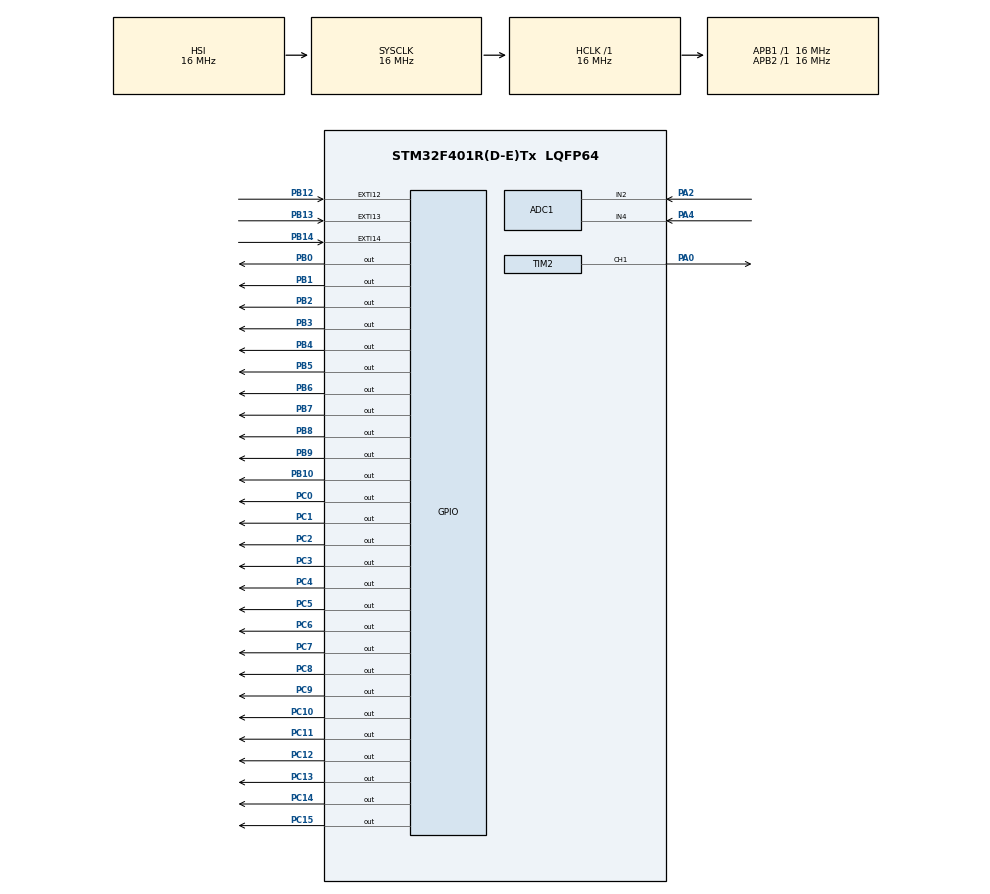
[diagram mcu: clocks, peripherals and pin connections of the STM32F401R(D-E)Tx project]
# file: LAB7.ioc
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ADC1.Channel-0\#ChannelRegularConversion=ADC_CHANNEL_2
ADC1.NbrOfConversionFlag=1
ADC1.Rank-0\#ChannelRegularConversion=1
ADC1.SamplingTime-0\#ChannelRegularConversion=ADC_SAMPLETIME_28CYCLES
ADC1.master=1
Mcu.Family=STM32F4
Mcu.Name=STM32F401R(D-E)Tx
Mcu.Package=LQFP64
NVIC.EXTI15_10_IRQn=true\:0\:0\:false\:false\:true\:true\:true
NVIC.PriorityGroup=NVIC_PRIORITYGROUP_4
NVIC.TIM3_IRQn=true\:0\:0\:false\:false\:true\:true\:true
PA0-WKUP.Signal=S_TIM2_CH1_ETR
PA2.Signal=ADCx_IN2
PA4.Signal=ADCx_IN4
PB0.Signal=GPIO_Output
PB1.Signal=GPIO_Output
PB10.Signal=GPIO_Output
PB12.GPIO_PuPd=GPIO_PULLDOWN
PB12.Signal=GPXTI12
PB13.GPIO_PuPd=GPIO_PULLDOWN
PB13.Signal=GPXTI13
PB14.GPIO_PuPd=GPIO_PULLDOWN
PB14.Signal=GPXTI14
PB2.Signal=GPIO_Output
PB3.Signal=GPIO_Output
PB4.Signal=GPIO_Output
PB5.Signal=GPIO_Output
PB6.Signal=GPIO_Output
PB7.Signal=GPIO_Output
PB8.Signal=GPIO_Output
PB9.Signal=GPIO_Output
PC0.Signal=GPIO_Output
PC1.Signal=GPIO_Output
PC10.Signal=GPIO_Output
PC11.Signal=GPIO_Output
PC12.Signal=GPIO_Output
PC13-ANTI_TAMP.Signal=GPIO_Output
PC14-OSC32_IN.Signal=GPIO_Output
PC15-OSC32_OUT.Signal=GPIO_Output
PC2.Signal=GPIO_Output
PC3.Signal=GPIO_Output
PC4.Signal=GPIO_Output
PC5.Signal=GPIO_Output
PC6.Signal=GPIO_Output
PC7.Signal=GPIO_Output
PC8.Signal=GPIO_Output
PC9.Signal=GPIO_Output
ProjectManager.HeapSize=0x200
ProjectManager.StackSize=0x400
ProjectManager.TargetToolchain=MDK-ARM V5.32
RCC.AHBFreq_Value=16000000
RCC.APB1Freq_Value=16000000
RCC.APB2Freq_Value=16000000
RCC.CortexFreq_Value=16000000
RCC.HSE_VALUE=25000000
RCC.HSI_VALUE=16000000
RCC.LSE_VALUE=32768
RCC.SYSCLKFreq_VALUE=16000000
RCC.VCOOutputFreq_Value=192000000
SH.ADCx_IN2.0=ADC1_IN2,IN2
SH.ADCx_IN4.0=ADC1_IN4,IN4
SH.S_TIM2_CH1_ETR.0=TIM2_CH1,PWM Generation1 CH1
TIM2.Channel-PWM\ Generation1\ CH1=TIM_CHANNEL_1
TIM3.Period=19
TIM3.Prescaler=15999
VP_TIM2_VS_ClockSourceINT.Mode=Internal
VP_TIM3_VS_ClockSourceINT.Mode=Internal
board=custom

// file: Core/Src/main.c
/* USER CODE BEGIN Header */
/**
 ******************************************************************************
 * @file           : main.c
 * @brief          : Main program body
 ******************************************************************************
 * @attention
 *
 * <h2><center>&copy; Copyright (c) 2022 STMicroelectronics.
 * All rights reserved.</center></h2>
 *
 * This software component is licensed by ST under BSD 3-Clause license,
 * the "License"; You may not use this file except in compliance with the
 * License. You may obtain a copy of the License at:
 *                        opensource.org/licenses/BSD-3-Clause
 *
 ******************************************************************************
 */
/* USER CODE END Header */
#include "main.h"

/* USER CODE BEGIN Includes */
#include <stdio.h>
void BCDTo7SegDec(int num);
void delayMs(int n);
void ADC_Select_CH2(void);
void ADC_Select_CH4(void);
uint16_t LM35_temp(void);
void showTemp(uint16_t tmp);
void reset_SEG(void);
uint16_t SIG_input(void);
void DAC_data(uint16_t input_signal);

int state = 0; // everything is off
int temp_sample = 0;
int temp_sample_sum = 0;
int avg_temp = 0;
int LED_status = 0;
int count_500ms = 0;
int coolingCheck = 0; // if 1 >> cooling is pressed
int cooling_timeOut = 100;

/* USER CODE END Includes */

ADC_HandleTypeDef hadc1;

TIM_HandleTypeDef htim2;
TIM_HandleTypeDef htim3;

void SystemClock_Config(void);
static void MX_GPIO_Init(void);
static void MX_ADC1_Init(void);
static void MX_TIM2_Init(void);
static void MX_TIM3_Init(void);

int main(void)
{

    /* MCU Configuration--------------------------------------------------------*/

    /* Reset of all peripherals, Initializes the Flash interface and the Systick. */
    HAL_Init();

    /* Configure the system clock */
    SystemClock_Config();

    /* Initialize all configured peripherals */
    MX_GPIO_Init();
    MX_ADC1_Init();
    MX_TIM2_Init();
    MX_TIM3_Init();

    /* Infinite loop */
    while (1)
    {
        /* USER CODE BEGIN 3 */
        // 1 check / 2 ok / 3 danger / 4 warning
        if (state != 0 || state != 404)
        {
            showTemp(avg_temp);
        }
        if(state == 2 || state == 4){
            __disable_irq();
            ADC_Select_CH4();
            DAC_data(SIG_input());
            __enable_irq();
        }
        if (state == 404)
        {
            reset_SEG();
        }
    }
    /* USER CODE END 3 */
}

void SystemClock_Config(void)
{
    RCC_OscInitTypeDef RCC_OscInitStruct = {0};
    RCC_ClkInitTypeDef RCC_ClkInitStruct = {0};

    /** Configure the main internal regulator output voltage
     */
    __HAL_RCC_PWR_CLK_ENABLE();
    __HAL_PWR_VOLTAGESCALING_CONFIG(PWR_REGULATOR_VOLTAGE_SCALE2);
    /** Initializes the RCC Oscillators according to the specified parameters
     * in the RCC_OscInitTypeDef structure.
     */
    RCC_OscInitStruct.OscillatorType = RCC_OSCILLATORTYPE_HSI;
    RCC_OscInitStruct.HSIState = RCC_HSI_ON;
    RCC_OscInitStruct.HSICalibrationValue = RCC_HSICALIBRATION_DEFAULT;
    RCC_OscInitStruct.PLL.PLLState = RCC_PLL_NONE;
    if (HAL_RCC_OscConfig(&RCC_OscInitStruct) != HAL_OK)
    {
        Error_Handler();
    }
    /** Initializes the CPU, AHB and APB buses clocks
     */
    RCC_ClkInitStruct.ClockType = RCC_CLOCKTYPE_HCLK | RCC_CLOCKTYPE_SYSCLK | RCC_CLOCKTYPE_PCLK1 | RCC_CLOCKTYPE_PCLK2;
    RCC_ClkInitStruct.SYSCLKSource = RCC_SYSCLKSOURCE_HSI;
    RCC_ClkInitStruct.AHBCLKDivider = RCC_SYSCLK_DIV1;
    RCC_ClkInitStruct.APB1CLKDivider = RCC_HCLK_DIV1;
    RCC_ClkInitStruct.APB2CLKDivider = RCC_HCLK_DIV1;

    if (HAL_RCC_ClockConfig(&RCC_ClkInitStruct, FLASH_LATENCY_0) != HAL_OK)
    {
        Error_Handler();
    }
}

static void MX_ADC1_Init(void)
{

    ADC_ChannelConfTypeDef sConfig = {0};

    /** Configure the global features of the ADC (Clock, Resolution, Data Alignment and number of conversion)
     */
    hadc1.Instance = ADC1;
    hadc1.Init.ClockPrescaler = ADC_CLOCK_SYNC_PCLK_DIV2;
    hadc1.Init.Resolution = ADC_RESOLUTION_12B;
    hadc1.Init.ScanConvMode = DISABLE;
    hadc1.Init.ContinuousConvMode = DISABLE;
    hadc1.Init.DiscontinuousConvMode = DISABLE;
    hadc1.Init.ExternalTrigConvEdge = ADC_EXTERNALTRIGCONVEDGE_NONE;
    hadc1.Init.ExternalTrigConv = ADC_SOFTWARE_START;
    hadc1.Init.DataAlign = ADC_DATAALIGN_RIGHT;
    hadc1.Init.NbrOfConversion = 1;
    hadc1.Init.DMAContinuousRequests = DISABLE;
    hadc1.Init.EOCSelection = ADC_EOC_SINGLE_CONV;
    if (HAL_ADC_Init(&hadc1) != HAL_OK)
    {
        Error_Handler();
    }
    /** Configure for the selected ADC regular channel its corresponding rank in the sequencer and its sample time.
     */
    sConfig.Channel = ADC_CHANNEL_2;
    sConfig.Rank = 1;
    sConfig.SamplingTime = ADC_SAMPLETIME_28CYCLES;
    if (HAL_ADC_ConfigChannel(&hadc1, &sConfig) != HAL_OK)
    {
        Error_Handler();
    }
}

static void MX_TIM2_Init(void)
{

    TIM_ClockConfigTypeDef sClockSourceConfig = {0};
    TIM_MasterConfigTypeDef sMasterConfig = {0};
    TIM_OC_InitTypeDef sConfigOC = {0};

    htim2.Instance = TIM2;
    htim2.Init.Prescaler = 0;
    htim2.Init.CounterMode = TIM_COUNTERMODE_UP;
    htim2.Init.Period = 4294967295;
    htim2.Init.ClockDivision = TIM_CLOCKDIVISION_DIV1;
    htim2.Init.AutoReloadPreload = TIM_AUTORELOAD_PRELOAD_DISABLE;
    if (HAL_TIM_Base_Init(&htim2) != HAL_OK)
    {
        Error_Handler();
    }
    sClockSourceConfig.ClockSource = TIM_CLOCKSOURCE_INTERNAL;
    if (HAL_TIM_ConfigClockSource(&htim2, &sClockSourceConfig) != HAL_OK)
    {
        Error_Handler();
    }
    if (HAL_TIM_PWM_Init(&htim2) != HAL_OK)
    {
        Error_Handler();
    }
    sMasterConfig.MasterOutputTrigger = TIM_TRGO_RESET;
    sMasterConfig.MasterSlaveMode = TIM_MASTERSLAVEMODE_DISABLE;
    if (HAL_TIMEx_MasterConfigSynchronization(&htim2, &sMasterConfig) != HAL_OK)
    {
        Error_Handler();
    }
    sConfigOC.OCMode = TIM_OCMODE_PWM1;
    sConfigOC.Pulse = 0;
    sConfigOC.OCPolarity = TIM_OCPOLARITY_HIGH;
    sConfigOC.OCFastMode = TIM_OCFAST_DISABLE;
    if (HAL_TIM_PWM_ConfigChannel(&htim2, &sConfigOC, TIM_CHANNEL_1) != HAL_OK)
    {
        Error_Handler();
    }
    HAL_TIM_MspPostInit(&htim2);
}

static void MX_TIM3_Init(void)
{

    TIM_ClockConfigTypeDef sClockSourceConfig = {0};
    TIM_MasterConfigTypeDef sMasterConfig = {0};

    htim3.Instance = TIM3;
    htim3.Init.Prescaler = 15999;
    htim3.Init.CounterMode = TIM_COUNTERMODE_UP;
    htim3.Init.Period = 19;
    htim3.Init.ClockDivision = TIM_CLOCKDIVISION_DIV1;
    htim3.Init.AutoReloadPreload = TIM_AUTORELOAD_PRELOAD_DISABLE;
    if (HAL_TIM_Base_Init(&htim3) != HAL_OK)
    {
        Error_Handler();
    }
    sClockSourceConfig.ClockSource = TIM_CLOCKSOURCE_INTERNAL;
    if (HAL_TIM_ConfigClockSource(&htim3, &sClockSourceConfig) != HAL_OK)
    {
        Error_Handler();
    }
    sMasterConfig.MasterOutputTrigger = TIM_TRGO_RESET;
    sMasterConfig.MasterSlaveMode = TIM_MASTERSLAVEMODE_DISABLE;
    if (HAL_TIMEx_MasterConfigSynchronization(&htim3, &sMasterConfig) != HAL_OK)
    {
        Error_Handler();
    }
}

static void MX_GPIO_Init(void)
{
    GPIO_InitTypeDef GPIO_InitStruct = {0};

    /* GPIO Ports Clock Enable */
    __HAL_RCC_GPIOC_CLK_ENABLE();
    __HAL_RCC_GPIOA_CLK_ENABLE();
    __HAL_RCC_GPIOB_CLK_ENABLE();

    /*Configure GPIO pin Output Level */
    HAL_GPIO_WritePin(GPIOC, GPIO_PIN_13 | GPIO_PIN_14 | GPIO_PIN_15 | GPIO_PIN_0 | GPIO_PIN_1 | GPIO_PIN_2 | GPIO_PIN_3 | GPIO_PIN_4 | GPIO_PIN_5 | GPIO_PIN_6 | GPIO_PIN_7 | GPIO_PIN_8 | GPIO_PIN_9 | GPIO_PIN_10 | GPIO_PIN_11 | GPIO_PIN_12, GPIO_PIN_RESET);

    /*Configure GPIO pin Output Level */
    HAL_GPIO_WritePin(GPIOB, GPIO_PIN_0 | GPIO_PIN_1 | GPIO_PIN_2 | GPIO_PIN_10 | GPIO_PIN_3 | GPIO_PIN_4 | GPIO_PIN_5 | GPIO_PIN_6 | GPIO_PIN_7 | GPIO_PIN_8 | GPIO_PIN_9, GPIO_PIN_RESET);

    /*Configure GPIO pins : PC13 PC14 PC15 PC0
                             PC1 PC2 PC3 PC4
                             PC5 PC6 PC7 PC8
                             PC9 PC10 PC11 PC12 */
    GPIO_InitStruct.Pin = GPIO_PIN_13 | GPIO_PIN_14 | GPIO_PIN_15 | GPIO_PIN_0 | GPIO_PIN_1 | GPIO_PIN_2 | GPIO_PIN_3 | GPIO_PIN_4 | GPIO_PIN_5 | GPIO_PIN_6 | GPIO_PIN_7 | GPIO_PIN_8 | GPIO_PIN_9 | GPIO_PIN_10 | GPIO_PIN_11 | GPIO_PIN_12;
    GPIO_InitStruct.Mode = GPIO_MODE_OUTPUT_PP;
    GPIO_InitStruct.Pull = GPIO_NOPULL;
    GPIO_InitStruct.Speed = GPIO_SPEED_FREQ_LOW;
    HAL_GPIO_Init(GPIOC, &GPIO_InitStruct);

    /*Configure GPIO pins : PB0 PB1 PB2 PB10
                             PB3 PB4 PB5 PB6
                             PB7 PB8 PB9 */
    GPIO_InitStruct.Pin = GPIO_PIN_0 | GPIO_PIN_1 | GPIO_PIN_2 | GPIO_PIN_10 | GPIO_PIN_3 | GPIO_PIN_4 | GPIO_PIN_5 | GPIO_PIN_6 | GPIO_PIN_7 | GPIO_PIN_8 | GPIO_PIN_9;
    GPIO_InitStruct.Mode = GPIO_MODE_OUTPUT_PP;
    GPIO_InitStruct.Pull = GPIO_NOPULL;
    GPIO_InitStruct.Speed = GPIO_SPEED_FREQ_LOW;
    HAL_GPIO_Init(GPIOB, &GPIO_InitStruct);

    /*Configure GPIO pins : PB12 PB13 PB14 */
    GPIO_InitStruct.Pin = GPIO_PIN_12 | GPIO_PIN_13 | GPIO_PIN_14;
    GPIO_InitStruct.Mode = GPIO_MODE_IT_RISING;
    GPIO_InitStruct.Pull = GPIO_PULLDOWN;
    HAL_GPIO_Init(GPIOB, &GPIO_InitStruct);

    /* EXTI interrupt init*/
    HAL_NVIC_SetPriority(EXTI15_10_IRQn, 0, 0);
    HAL_NVIC_EnableIRQ(EXTI15_10_IRQn);
}

/* USER CODE BEGIN 4 */
void BCDTo7SegDec(int num)
{

    switch (num)
    {
    case 0:
    {
        HAL_GPIO_WritePin(GPIOB, GPIO_PIN_0, GPIO_PIN_SET);   // a
        HAL_GPIO_WritePin(GPIOB, GPIO_PIN_1, GPIO_PIN_SET);   // b
        HAL_GPIO_WritePin(GPIOB, GPIO_PIN_2, GPIO_PIN_SET);   // c
        HAL_GPIO_WritePin(GPIOB, GPIO_PIN_3, GPIO_PIN_SET);   // d
        HAL_GPIO_WritePin(GPIOB, GPIO_PIN_4, GPIO_PIN_SET);   // e
        HAL_GPIO_WritePin(GPIOB, GPIO_PIN_5, GPIO_PIN_SET);   // f
        HAL_GPIO_WritePin(GPIOB, GPIO_PIN_6, GPIO_PIN_RESET); // g
    };
    break;
    case 1:
    {
        HAL_GPIO_WritePin(GPIOB, GPIO_PIN_0, GPIO_PIN_RESET); // a
        HAL_GPIO_WritePin(GPIOB, GPIO_PIN_1, GPIO_PIN_SET);   // b
        HAL_GPIO_WritePin(GPIOB, GPIO_PIN_2, GPIO_PIN_SET);   // c
        HAL_GPIO_WritePin(GPIOB, GPIO_PIN_3, GPIO_PIN_RESET); // d
        HAL_GPIO_WritePin(GPIOB, GPIO_PIN_4, GPIO_PIN_RESET); // e
        HAL_GPIO_WritePin(GPIOB, GPIO_PIN_5, GPIO_PIN_RESET); // f
        HAL_GPIO_WritePin(GPIOB, GPIO_PIN_6, GPIO_PIN_RESET); // g
    }
    break;
    case 2:
    {
        HAL_GPIO_WritePin(GPIOB, GPIO_PIN_0, GPIO_PIN_SET);   // a
        HAL_GPIO_WritePin(GPIOB, GPIO_PIN_1, GPIO_PIN_SET);   // b
        HAL_GPIO_WritePin(GPIOB, GPIO_PIN_2, GPIO_PIN_RESET); // c
        HAL_GPIO_WritePin(GPIOB, GPIO_PIN_3, GPIO_PIN_SET);   // d
        HAL_GPIO_WritePin(GPIOB, GPIO_PIN_4, GPIO_PIN_SET);   // e
        HAL_GPIO_WritePin(GPIOB, GPIO_PIN_5, GPIO_PIN_RESET); // f
        HAL_GPIO_WritePin(GPIOB, GPIO_PIN_6, GPIO_PIN_SET);   // g
    }
    break;
    case 3:
    {
        HAL_GPIO_WritePin(GPIOB, GPIO_PIN_0, GPIO_PIN_SET);   // a
        HAL_GPIO_WritePin(GPIOB, GPIO_PIN_1, GPIO_PIN_SET);   // b
        HAL_GPIO_WritePin(GPIOB, GPIO_PIN_2, GPIO_PIN_SET);   // c
        HAL_GPIO_WritePin(GPIOB, GPIO_PIN_3, GPIO_PIN_SET);   // d
        HAL_GPIO_WritePin(GPIOB, GPIO_PIN_4, GPIO_PIN_RESET); // e
        HAL_GPIO_WritePin(GPIOB, GPIO_PIN_5, GPIO_PIN_RESET); // f
        HAL_GPIO_WritePin(GPIOB, GPIO_PIN_6, GPIO_PIN_SET);   // g
    }
    break;
    case 4:
    {
        HAL_GPIO_WritePin(GPIOB, GPIO_PIN_0, GPIO_PIN_RESET); // a
        HAL_GPIO_WritePin(GPIOB, GPIO_PIN_1, GPIO_PIN_SET);   // b
        HAL_GPIO_WritePin(GPIOB, GPIO_PIN_2, GPIO_PIN_SET);   // c
        HAL_GPIO_WritePin(GPIOB, GPIO_PIN_3, GPIO_PIN_RESET); // d
        HAL_GPIO_WritePin(GPIOB, GPIO_PIN_4, GPIO_PIN_RESET); // e
        HAL_GPIO_WritePin(GPIOB, GPIO_PIN_5, GPIO_PIN_SET);   // f
        HAL_GPIO_WritePin(GPIOB, GPIO_PIN_6, GPIO_PIN_SET);   // g
    }
    break;
    case 5:
    {
        HAL_GPIO_WritePin(GPIOB, GPIO_PIN_0, GPIO_PIN_SET);   // a
        HAL_GPIO_WritePin(GPIOB, GPIO_PIN_1, GPIO_PIN_RESET); // b
        HAL_GPIO_WritePin(GPIOB, GPIO_PIN_2, GPIO_PIN_SET);   // c
        HAL_GPIO_WritePin(GPIOB, GPIO_PIN_3, GPIO_PIN_SET);   // d
        HAL_GPIO_WritePin(GPIOB, GPIO_PIN_4, GPIO_PIN_RESET); // e
        HAL_GPIO_WritePin(GPIOB, GPIO_PIN_5, GPIO_PIN_SET);   // f
        HAL_GPIO_WritePin(GPIOB, GPIO_PIN_6, GPIO_PIN_SET);   // g
    }
    break;
    case 6:
    {
        HAL_GPIO_WritePin(GPIOB, GPIO_PIN_0, GPIO_PIN_SET);   // a
        HAL_GPIO_WritePin(GPIOB, GPIO_PIN_1, GPIO_PIN_RESET); // b
        HAL_GPIO_WritePin(GPIOB, GPIO_PIN_2, GPIO_PIN_SET);   // c
        HAL_GPIO_WritePin(GPIOB, GPIO_PIN_3, GPIO_PIN_SET);   // d
        HAL_GPIO_WritePin(GPIOB, GPIO_PIN_4, GPIO_PIN_SET);   // e
        HAL_GPIO_WritePin(GPIOB, GPIO_PIN_5, GPIO_PIN_SET);   // f
        HAL_GPIO_WritePin(GPIOB, GPIO_PIN_6, GPIO_PIN_SET);   // g
    }
    break;
    case 7:
    {
        HAL_GPIO_WritePin(GPIOB, GPIO_PIN_0, GPIO_PIN_SET);   // a
        HAL_GPIO_WritePin(GPIOB, GPIO_PIN_1, GPIO_PIN_SET);   // b
        HAL_GPIO_WritePin(GPIOB, GPIO_PIN_2, GPIO_PIN_SET);   // c
        HAL_GPIO_WritePin(GPIOB, GPIO_PIN_3, GPIO_PIN_RESET); // d
        HAL_GPIO_WritePin(GPIOB, GPIO_PIN_4, GPIO_PIN_RESET); // e
        HAL_GPIO_WritePin(GPIOB, GPIO_PIN_5, GPIO_PIN_RESET); // f
        HAL_GPIO_WritePin(GPIOB, GPIO_PIN_6, GPIO_PIN_RESET); // g
    }
    break;
    case 8:
    {
        HAL_GPIO_WritePin(GPIOB, GPIO_PIN_0, GPIO_PIN_SET); // a
        HAL_GPIO_WritePin(GPIOB, GPIO_PIN_1, GPIO_PIN_SET); // b
        HAL_GPIO_WritePin(GPIOB, GPIO_PIN_2, GPIO_PIN_SET); // c
        HAL_GPIO_WritePin(GPIOB, GPIO_PIN_3, GPIO_PIN_SET); // d
        HAL_GPIO_WritePin(GPIOB, GPIO_PIN_4, GPIO_PIN_SET); // e
        HAL_GPIO_WritePin(GPIOB, GPIO_PIN_5, GPIO_PIN_SET); // f
        HAL_GPIO_WritePin(GPIOB, GPIO_PIN_6, GPIO_PIN_SET); // g
    }
    break;
    case 9:
    {
        HAL_GPIO_WritePin(GPIOB, GPIO_PIN_0, GPIO_PIN_SET);   // a
        HAL_GPIO_WritePin(GPIOB, GPIO_PIN_1, GPIO_PIN_SET);   // b
        HAL_GPIO_WritePin(GPIOB, GPIO_PIN_2, GPIO_PIN_SET);   // c
        HAL_GPIO_WritePin(GPIOB, GPIO_PIN_3, GPIO_PIN_SET);   // d
        HAL_GPIO_WritePin(GPIOB, GPIO_PIN_4, GPIO_PIN_RESET); // e
        HAL_GPIO_WritePin(GPIOB, GPIO_PIN_5, GPIO_PIN_SET);   // f
        HAL_GPIO_WritePin(GPIOB, GPIO_PIN_6, GPIO_PIN_SET);   // g
    }
    break;
    }
}

uint16_t LM35_temp(void)
{
    HAL_ADC_Start(&hadc1);
    HAL_ADC_PollForConversion(&hadc1, 1);
    uint16_t LM35_tmp = HAL_ADC_GetValue(&hadc1);
    double tmp_temp = LM35_tmp;
    tmp_temp = tmp_temp * 500.0 / 4095.0;
    return ((uint16_t)(tmp_temp));
    // return LM35_tmp;
}

/*CONF for ADC select and its rank in sequencer*/
void ADC_Select_CH2(void)
{
    ADC_ChannelConfTypeDef sConfig = {0};
    sConfig.Channel = ADC_CHANNEL_2;
    sConfig.Rank = 1;
    sConfig.SamplingTime = ADC_SAMPLETIME_28CYCLES;

    if (HAL_ADC_ConfigChannel(&hadc1, &sConfig) != HAL_OK)
    {
        Error_Handler();
    }
    HAL_ADC_Init(&hadc1);
}
void ADC_Select_CH4(void)
{
    ADC_ChannelConfTypeDef sConfig = {0};
    sConfig.Channel = ADC_CHANNEL_4;
    sConfig.Rank = 1;
    sConfig.SamplingTime = ADC_SAMPLETIME_28CYCLES;

    if (HAL_ADC_ConfigChannel(&hadc1, &sConfig) != HAL_OK)
    {
        Error_Handler();
    }
    HAL_ADC_Init(&hadc1);
}

void showTemp(uint16_t tmp)
{
    /*while (tmp > 0)
    {
        BCDTo7SegDec(tmp % 10);
        tmp /= 10;
        HAL_Delay(200);
    }*/
    int firstD = tmp / 10;
    int secondD = tmp % 10;
    reset_SEG();
    HAL_GPIO_WritePin(GPIOB, GPIO_PIN_7, GPIO_PIN_SET);
    BCDTo7SegDec(firstD);
    delayMs(1);
    reset_SEG();
    HAL_GPIO_WritePin(GPIOB, GPIO_PIN_7, GPIO_PIN_RESET);
    BCDTo7SegDec(secondD);
    delayMs(1);
}
void delayMs(int n)
{
    int i;
    for (; n > 0; n--)
        for (i = 0; i < 3195; i++)
            __NOP();
}

void HAL_GPIO_EXTI_Callback(uint16_t GPIO_Pin)
{
    if (GPIO_Pin == GPIO_PIN_12 && state == 0)
    {
        state = 1;
        temp_sample = 0;
        temp_sample_sum = 0;
        avg_temp = 0;
        LED_status = 0;
        HAL_TIM_Base_Start_IT(&htim3);
    }
    if (GPIO_Pin == GPIO_PIN_14 && state == 404)
    {
        state = 1;
        temp_sample = 0;
        temp_sample_sum = 0;
        avg_temp = 0;
        LED_status = 0;
        HAL_TIM_Base_Start_IT(&htim3);
    }
    if (GPIO_Pin == GPIO_PIN_13 && state == 3)
    {
        state = 10;
        coolingCheck = 1;
        HAL_GPIO_WritePin(GPIOB, GPIO_PIN_8, GPIO_PIN_SET);
    }
}

void HAL_TIM_PeriodElapsedCallback(TIM_HandleTypeDef *htim)
{
    if (htim->Instance == TIM3)
    {

        if (state == 1)
        {
            if (LED_status < 2)
            {
                LED_status++;
                HAL_GPIO_WritePin(GPIOB, GPIO_PIN_9, GPIO_PIN_SET);
            }
            else if (LED_status < 4)
            {
                LED_status++;
                HAL_GPIO_WritePin(GPIOB, GPIO_PIN_9, GPIO_PIN_RESET);
            }
            else
            {
                LED_status = 0;
                HAL_GPIO_WritePin(GPIOB, GPIO_PIN_9, GPIO_PIN_RESET);
            }
        }

        else if (state == 3)
        {
            if (LED_status < 2)
            {
                LED_status++;
                HAL_GPIO_WritePin(GPIOB, GPIO_PIN_8, GPIO_PIN_SET);
            }
            else if (LED_status < 4)
            {
                LED_status++;
                HAL_GPIO_WritePin(GPIOB, GPIO_PIN_8, GPIO_PIN_RESET);
            }
            else
            {
                LED_status = 0;
                HAL_GPIO_WritePin(GPIOB, GPIO_PIN_8, GPIO_PIN_RESET);
            }

            ////// check input
            count_500ms++;
            if (count_500ms >= 25)
            {
                switch (coolingCheck)
                {
                case 0: // cooling not pushed!
                {
                    reset_SEG(); // seg turn off
                    // led turn of
                    HAL_GPIO_WritePin(GPIOB, GPIO_PIN_8, GPIO_PIN_RESET);
                    HAL_GPIO_WritePin(GPIOB, GPIO_PIN_9, GPIO_PIN_RESET);
                    HAL_GPIO_WritePin(GPIOB, GPIO_PIN_10, GPIO_PIN_RESET);
                    HAL_TIM_Base_Stop_IT(&htim3);
                    count_500ms = 0;
                    state = 404;
                }
                break;
                case 1: // cooling pushed
                {
                    count_500ms = 0;
                    coolingCheck = 0;
                }

                default:
                    break;
                }
            }
        }
        else if (state == 10)
        {
            if (cooling_timeOut > 0)
                cooling_timeOut--;
            else
            {
                if (avg_temp > 35)
                {
                    state = 666;
                    HAL_GPIO_WritePin(GPIOB, GPIO_PIN_8, GPIO_PIN_RESET);
                    count_500ms = 0;
                    cooling_timeOut = 100;
                }
                else
                {
                    state = 2;
                    HAL_GPIO_WritePin(GPIOB, GPIO_PIN_8, GPIO_PIN_RESET);
                    HAL_GPIO_WritePin(GPIOB, GPIO_PIN_9, GPIO_PIN_RESET);
                    HAL_GPIO_WritePin(GPIOB, GPIO_PIN_10, GPIO_PIN_SET);
                    cooling_timeOut = 100;
                }
            }
        }
        else if (state == 666)
        {
            if (count_500ms < 25)
            {
                count_500ms++;
            }
            else
            {
                reset_SEG(); // seg turn off
                // led turn of
                HAL_GPIO_WritePin(GPIOB, GPIO_PIN_8, GPIO_PIN_RESET);
                HAL_GPIO_WritePin(GPIOB, GPIO_PIN_9, GPIO_PIN_RESET);
                HAL_GPIO_WritePin(GPIOB, GPIO_PIN_10, GPIO_PIN_RESET);
                HAL_TIM_Base_Stop_IT(&htim3);
                count_500ms = 0;
                state = 404;
            }
        }

        ADC_Select_CH2();
        if (temp_sample < 10)
        {
            temp_sample_sum += LM35_temp();
            temp_sample++;
        }
        else
        {

            avg_temp = temp_sample_sum / 10;
            temp_sample_sum = 0;
            temp_sample = 0;
            if (state != 10)
            {
                if (avg_temp <= 35)
                {
                    LED_status = 0;
                    HAL_GPIO_WritePin(GPIOB, GPIO_PIN_8, GPIO_PIN_RESET);
                    HAL_GPIO_WritePin(GPIOB, GPIO_PIN_9, GPIO_PIN_RESET);
                    state = 2; // ok
                    HAL_GPIO_WritePin(GPIOB, GPIO_PIN_10, GPIO_PIN_SET);
                }
                else if (avg_temp >= 46)
                {
                    LED_status = 0;
                    HAL_GPIO_WritePin(GPIOB, GPIO_PIN_9, GPIO_PIN_RESET);

                    state = 3; // danger
                    HAL_GPIO_WritePin(GPIOB, GPIO_PIN_10, GPIO_PIN_RESET);
                }
                else
                {
                    LED_status = 0;
                    HAL_GPIO_WritePin(GPIOB, GPIO_PIN_8, GPIO_PIN_RESET);
                    HAL_GPIO_WritePin(GPIOB, GPIO_PIN_10, GPIO_PIN_RESET);

                    state = 4; // warning
                    HAL_GPIO_WritePin(GPIOB, GPIO_PIN_9, GPIO_PIN_SET);
                }
            }
        }
    }
}

void reset_SEG(void)
{
    HAL_GPIO_WritePin(GPIOB, GPIO_PIN_0, GPIO_PIN_RESET); // a
    HAL_GPIO_WritePin(GPIOB, GPIO_PIN_1, GPIO_PIN_RESET); // b
    HAL_GPIO_WritePin(GPIOB, GPIO_PIN_2, GPIO_PIN_RESET); // c
    HAL_GPIO_WritePin(GPIOB, GPIO_PIN_3, GPIO_PIN_RESET); // d
    HAL_GPIO_WritePin(GPIOB, GPIO_PIN_4, GPIO_PIN_RESET); // e
    HAL_GPIO_WritePin(GPIOB, GPIO_PIN_5, GPIO_PIN_RESET); // f
    HAL_GPIO_WritePin(GPIOB, GPIO_PIN_6, GPIO_PIN_RESET); // g
}

uint16_t SIG_input(void) // select channel 4 for it
{
    __disable_irq();
    HAL_ADC_Start(&hadc1);
    HAL_ADC_PollForConversion(&hadc1, 1);
    uint16_t inputSig = HAL_ADC_GetValue(&hadc1);
    __enable_irq();
    return inputSig;
}

void DAC_data(uint16_t input_signal)
{
    GPIOC->ODR = 0xFFF-(input_signal << 4);
}

/* USER CODE END 4 */

void Error_Handler(void)
{
    __disable_irq();
    while (1)
    {
    }
}

/************************ (C) COPYRIGHT STMicroelectronics *****END OF FILE****/
